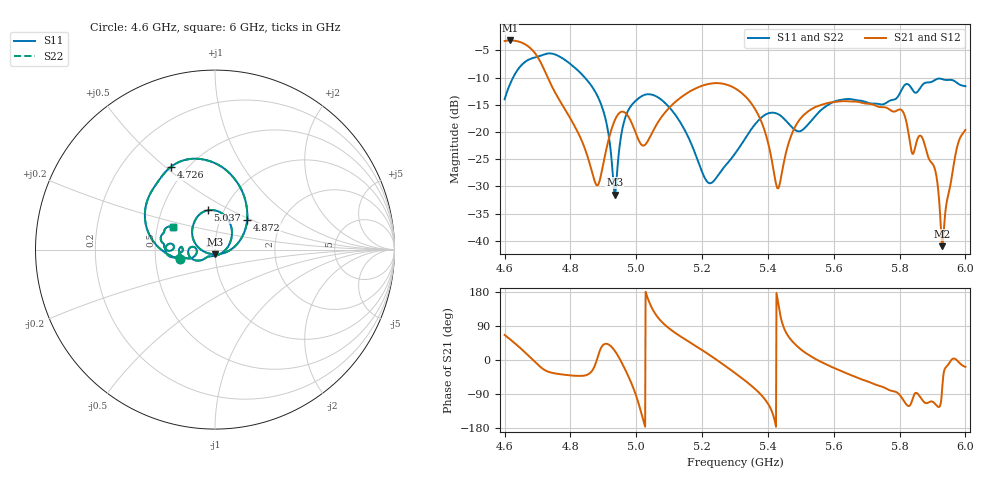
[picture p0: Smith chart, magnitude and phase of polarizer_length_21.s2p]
! TOUCHSTONE file generated by CST MICROWAVE STUDIO
! Date and time: Sun Dec  1 17:17:03 2024
! Project name: test_tuning.cst
! Parameters = {airCoaxOuterDiameter=3; chamferAngle=45; chamferWidth=24; connectorLength=10; drillingHoleDiameter=4.1; feedLength=60; flareDiameter=130; flareLength=70; gratingDistance=0; gratingGap=1.90274; outletLength=30; polarizerLength=104; probe1Diameter=1.3; probe1Distance=14; probe1Length=1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
! Header version: 2024
! Port assignment regex: !\s*Touchstone port\s*([0-9]+)\s*=\s*(CST MWS port|CST DES external port|CST DES block port)\s*(.+)\s* \(\"(.*)\"\)(\s*mode\s*([0-9]+))?.*
! Touchstone port assignment:
! Touchstone port 1 = CST MWS port 1 ("Input1")
! Touchstone port 2 = CST MWS port 2 ("Input2")
# GHz S MA R 50
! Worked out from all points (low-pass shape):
!   1001 points, 4.6 GHz to 6 GHz, reference 50 ohm
!   highest |S21| = -3.17 dB at 4.617 GHz (marker M1); lowest = -41.0 dB at 5.93 GHz (marker M2)
!   |S21| within 3 dB of the highest: start of sweep to 4.7 GHz
!   lowest |S11| = -31.5 dB at 4.935 GHz (marker M3), VSWR 1.05, Z = 50.1 - j2.66 ohm
!   |S11| at or under -10 dB: start of sweep to 4.626 GHz; 4.844 GHz to end of sweep
!   |S22| runs from -31.5 to -5.6 dB; largest |S21 - S12| = 1e-06
!   S11 on the Smith chart (normalised r, x): 4.6 GHz: 0.67, -0.08; 4.726 GHz: 0.41, +0.52; 4.872 GHz: 1.34, +0.48; 5.037 GHz: 0.84, +0.39; 6 GHz: 0.61, +0.16
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4.6  0.1998 -164.4  0.6862 66.1  0.6862 66.1  0.1998 -164.4
4.6168  0.2772 -176.4  0.6942 54.5  0.6942 54.5  0.2772 -176.4
4.67  0.4568 147.4  0.6179 13.6  0.6179 13.6  0.4568 147.4
4.726  0.5225 117.9  0.3415 -28.5  0.3415 -28.5  0.5225 117.9
4.8338  0.3409 61.8  0.08401 -41.9  0.08401 -41.9  0.3409 61.8
4.8716  0.2449 43.0  0.03701 -19.8  0.03701 -19.8  0.2449 43.0
4.908  0.1265 13.8  0.06723 42.9  0.06723 42.9  0.1265 13.8
4.9346  0.02661 -87.1  0.1278 24.4  0.1278 24.4  0.02661 -87.1
4.9696  0.1439 150.3  0.147 -31.1  0.147 -31.1  0.1439 150.3
5.0368  0.2224 100.2  0.08437 158.4  0.08437 158.4  0.2224 100.2
5.0676  0.2068 79.8  0.1251 110.3  0.1251 110.3  0.2068 79.8
5.2188  0.0342 -63.0  0.276 15.5  0.276 15.5  0.03419 -63.0
5.3  0.06323 -137.0  0.2521 -34.4  0.2521 -34.4  0.06323 -137.0
5.377  0.133 -155.2  0.1309 -89.8  0.1309 -89.8  0.133 -155.2
5.4302  0.1464 179.5  0.03028 154.9  0.03028 154.9  0.1464 179.5
5.4764  0.108 175.8  0.1019 47.1  0.1019 47.1  0.108 175.8
5.5338  0.1289 -160.9  0.1633 8.2  0.1633 8.2  0.1289 -160.9
5.7676  0.1922 -175.5  0.1625 -79.0  0.1625 -79.0  0.1922 -175.5
5.8712  0.2748 179.6  0.08534 -107.9  0.08534 -107.9  0.2748 179.6
5.909  0.3025 171.2  0.04353 -116.7  0.04353 -116.7  0.3025 171.2
5.93  0.3058 163.7  0.008912 -69.7  0.008912 -69.7  0.3058 163.7
6  0.2632 151.6  0.1042 -18.0  0.1042 -18.0  0.2632 151.6
